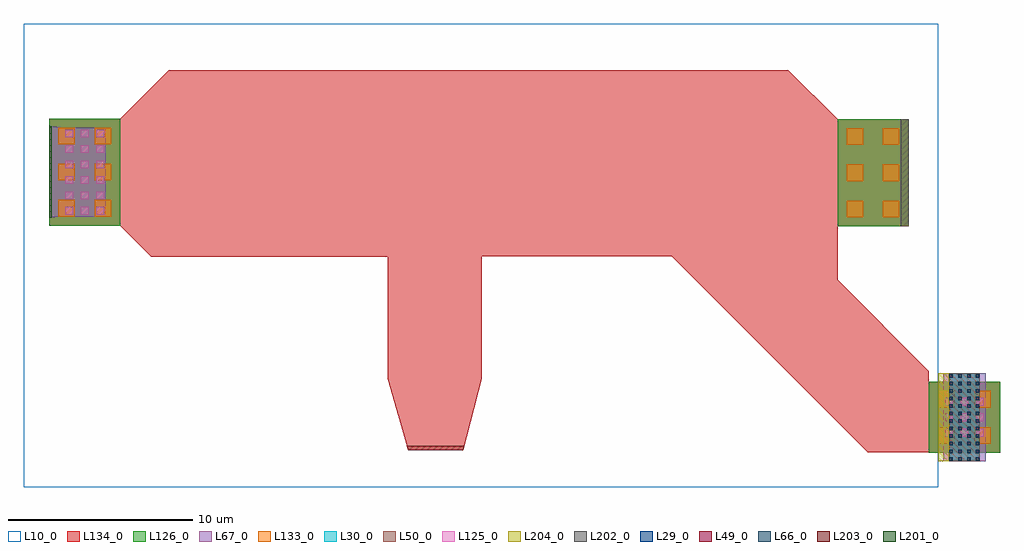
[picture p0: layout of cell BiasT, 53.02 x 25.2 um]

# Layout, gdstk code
import gdstk
lib = gdstk.Library(unit=1e-6, precision=1e-09)
def R(c, l, rs):  # rectangles x0, y0, x1, y1
    for r in rs: c.add(gdstk.rectangle(r[:2], r[2:], *l))
def A(c, l, x, y, w, h, nx, ny, dx, dy):  # array of equal rectangles
    R(c, l, [(x+i*dx, y+j*dy, x+i*dx+w, y+j*dy+h) for i in range(nx) for j in range(ny)])
def P(c, l, *ps):  # polygons
    for p in ps: c.add(gdstk.Polygon(p, *l))
L10_0 = (10, 0)
L29_0 = (29, 0)
L30_0 = (30, 0)
L49_0 = (49, 0)
L50_0 = (50, 0)
L66_0 = (66, 0)
L67_0 = (67, 0)
L125_0 = (125, 0)
L126_0 = (126, 0)
L133_0 = (133, 0)
L134_0 = (134, 0)
L201_0 = (201, 0)
L202_0 = (202, 0)
L203_0 = (203, 0)
L204_0 = (204, 0)

biast = lib.new_cell('BiasT')
R(biast, L10_0, [(3.785,-8.21,5.425,-3.41)])
P(biast, L10_0, [(-6.145,-9.62),(-6.145,-9.6),(-46.485,-9.6),(-46.485,15.58),(3.175,15.58),(3.175,-9.62)])
A(biast, L29_0, 3.79, -8.16, 0.19, 0.19, 4, 12, 0.48, 0.41)
R(biast, L30_0, [(3.785,-8.21,5.425,-3.41)])
A(biast, L49_0, 3.79, -8.16, 0.19, 0.19, 4, 12, 0.48, 0.41)
R(biast, L50_0, [(3.785,-8.21,5.425,-3.41)])
A(biast, L66_0, 3.79, -8.16, 0.19, 0.19, 4, 12, 0.48, 0.41)
R(biast, L67_0, [(3.455,-8.21,5.755,-3.41), (-44.335,5.095,-42.035,9.915)])
P(biast, L67_0, [(-45.11,5.025),(-45.11,10.025),(-44.335,9.915),(-44.335,5.1)])
A(biast, L125_0, 3.555, -6.86, 0.42, 0.42, 3, 3, 0.84, 0.84)
A(biast, L125_0, -44.235, 5.195, 0.42, 0.42, 3, 6, 0.84, 0.84)
R(biast, L126_0, [(2.675,-7.74,6.535,-3.88), (-2.29,4.565,1.57,10.385), (-45.115,4.595,-41.255,10.415)])
A(biast, L133_0, -1.79, 5.065, 0.9, 0.9, 1, 3, 0, 1.96)
A(biast, L133_0, 0.17, 5.065, 0.9, 0.9, 1, 3, 0, 1.96)
A(biast, L133_0, -44.615, 5.095, 0.9, 0.9, 1, 3, 0, 1.96)
A(biast, L133_0, -42.655, 5.095, 0.9, 0.9, 1, 3, 0, 1.96)
R(biast, L133_0, [(3.175,-7.24,4.075,-6.34), (5.135,-7.24,6.035,-6.34), (3.175,-5.28,4.075,-4.38), (5.135,-5.28,6.035,-4.38)])
R(biast, L134_0, [(2.675,-7.74,6.535,-3.88), (-2.29,4.565,1.57,10.385), (-45.115,4.595,-41.255,10.415)])
P(biast, L134_0, [(-25.62,-7.605),(-26.73,-3.715),(-21.62,-3.715),(-22.62,-7.605)],
  [(-0.645,-7.715),(-11.305,2.945),(-21.605,2.945),(-21.605,-3.715),(-26.73,-3.715),(-26.73,2.901),(-39.56,2.901),(-41.255,4.595),(-41.255,10.415),(-38.617,13.053),(-4.958,13.053),(-2.29,10.385),(-2.29,1.65),(2.675,-3.315),(2.675,-7.715)])
P(biast, L201_0, [(-45.11,5.025),(-45.11,10.025),(-44.98,10.007),(-44.98,5.038)])
R(biast, L202_0, [(1.13,4.565,1.57,10.385)])
P(biast, L203_0, [(-25.62,-7.605),(-25.691,-7.355),(-22.556,-7.355),(-22.62,-7.605)])
R(biast, L204_0, [(3.175,-8.21,3.785,-3.41)])

lib.write_gds('BiasT.gds')
